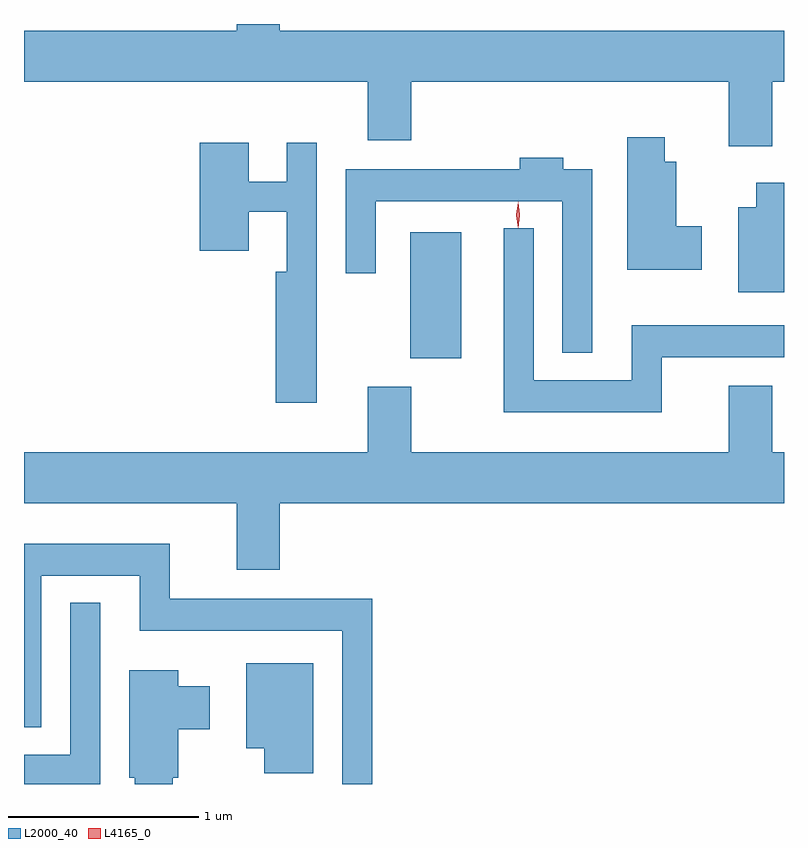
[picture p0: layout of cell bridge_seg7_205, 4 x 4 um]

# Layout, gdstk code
import gdstk
lib = gdstk.Library(unit=1e-6, precision=1e-09)
def R(c, l, rs):  # rectangles x0, y0, x1, y1
    for r in rs: c.add(gdstk.rectangle(r[:2], r[2:], *l))
def P(c, l, *ps):  # polygons
    for p in ps: c.add(gdstk.Polygon(p, *l))
L2000_40 = (2000, 40)
L4165_0 = (4165, 0)

bridge_seg7_205 = lib.new_cell('bridge_seg7_205')
R(bridge_seg7_205, L2000_40, [(1497.686,1706.201,1497.954,1706.864)])
P(bridge_seg7_205, L2000_40, [(1499.589,1707.656),(1499.652,1707.656),(1499.652,1707.924),(1496.999,1707.924),(1496.999,1707.959),(1496.771,1707.959),(1496.771,1707.924),(1495.652,1707.924),(1495.652,1707.656),(1497.461,1707.656),(1497.461,1707.346),(1497.689,1707.346),(1497.689,1707.656),(1499.361,1707.656),(1499.361,1707.316),(1499.589,1707.316)],
  [(1499.219,1706.894),(1499.084,1706.894),(1499.084,1707.234),(1499.024,1707.234),(1499.024,1707.364),(1498.826,1707.364),(1498.826,1706.666),(1499.219,1706.666)],
  [(1497.194,1707.333),(1497.036,1707.333),(1497.036,1707.129),(1496.834,1707.129),(1496.834,1707.334),(1496.576,1707.334),(1496.576,1706.766),(1496.834,1706.766),(1496.834,1706.971),(1497.036,1706.971),(1497.036,1706.654),(1496.976,1706.654),(1496.976,1705.966),(1497.194,1705.966)],
  [(1498.644,1707.194),(1498.489,1707.194),(1498.489,1707.254),(1498.261,1707.254),(1498.261,1707.194),(1497.346,1707.194),(1497.346,1706.648),(1497.504,1706.648),(1497.504,1707.026),(1498.486,1707.026),(1498.486,1706.228),(1498.644,1706.228)],
  [(1499.652,1707.124),(1499.506,1707.124),(1499.506,1706.994),(1499.411,1706.994),(1499.411,1706.546),(1499.652,1706.546)],
  [(1499.009,1706.206),(1499.652,1706.206),(1499.652,1706.374),(1498.851,1706.374),(1498.851,1706.084),(1498.334,1706.084),(1498.334,1706.883),(1498.176,1706.883),(1498.176,1705.916),(1499.009,1705.916)],
  [(1496.999,1705.436),(1499.652,1705.436),(1499.652,1705.704),(1499.589,1705.704),(1499.589,1706.054),(1499.361,1706.054),(1499.361,1705.704),(1497.689,1705.704),(1497.689,1706.049),(1497.461,1706.049),(1497.461,1705.704),(1495.652,1705.704),(1495.652,1705.436),(1496.771,1705.436),(1496.771,1705.086),(1496.999,1705.086)],
  [(1497.484,1704.934),(1496.419,1704.934),(1496.419,1705.224),(1495.652,1705.224),(1495.652,1704.258),(1495.744,1704.258),(1495.744,1705.056),(1496.261,1705.056),(1496.261,1704.766),(1497.326,1704.766),(1497.326,1703.959),(1497.484,1703.959)],
  [(1496.054,1704.913),(1495.896,1704.913),(1495.896,1704.114),(1495.652,1704.114),(1495.652,1703.959),(1496.054,1703.959)],
  [(1497.174,1704.594),(1496.821,1704.594),(1496.821,1704.146),(1496.916,1704.146),(1496.916,1704.016),(1497.174,1704.016)],
  [(1496.434,1703.991),(1496.464,1703.991),(1496.464,1704.246),(1496.629,1704.246),(1496.629,1704.474),(1496.464,1704.474),(1496.464,1704.559),(1496.206,1704.559),(1496.206,1703.991),(1496.236,1703.991),(1496.236,1703.959),(1496.434,1703.959)])
P(bridge_seg7_205, L4165_0, [(1498.252,1706.887),(1498.252,1706.887),(1498.242,1706.954),(1498.252,1707.02),(1498.252,1707.02),(1498.252,1707.02),(1498.262,1706.954),(1498.253,1706.887)],
  [(1498.252,1706.884),(1498.252,1706.884),(1498.242,1706.953),(1498.252,1707.022),(1498.252,1707.023),(1498.253,1707.022),(1498.262,1706.953),(1498.253,1706.884)])

lib.write_gds('bridge_seg7_205.gds')
